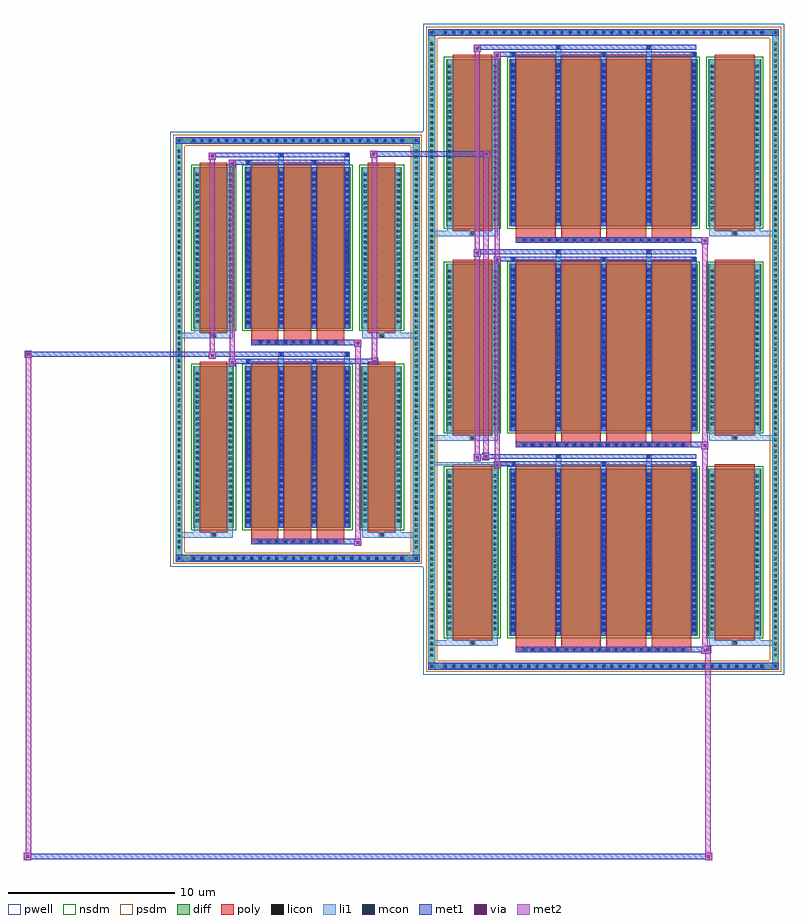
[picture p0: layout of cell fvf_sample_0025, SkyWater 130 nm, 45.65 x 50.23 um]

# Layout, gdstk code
import gdstk
lib = gdstk.Library(unit=1e-6, precision=1e-09)
def R(c, l, rs):  # rectangles x0, y0, x1, y1
    for r in rs: c.add(gdstk.rectangle(r[:2], r[2:], *l))
def A(c, l, x, y, w, h, nx, ny, dx, dy):  # array of equal rectangles
    R(c, l, [(x+i*dx, y+j*dy, x+i*dx+w, y+j*dy+h) for i in range(nx) for j in range(ny)])
def P(c, l, *ps):  # polygons
    for p in ps: c.add(gdstk.Polygon(p, *l))
pwell = (64, 44)
diff = (65, 20)
poly = (66, 20)
licon = (66, 44)
li1 = (67, 20)
mcon = (67, 44)
met1 = (68, 20)
via = (68, 44)
met2 = (69, 20)
nsdm = (93, 44)
psdm = (94, 20)

fvf_sample_0025 = lib.new_cell('fvf_sample_0025')
R(fvf_sample_0025, pwell, [(7.54,-19.546,29.214,19.546), (-7.64,-13.061,7.64,13.061)])
A(fvf_sample_0025, diff, 8.672, -19.236, 0.41, 0.41, 39, 2, 0.5, 38.062)
A(fvf_sample_0025, diff, 7.85, -18.565, 0.41, 0.41, 1, 109, 0, 0.34)
A(fvf_sample_0025, diff, 28.494, -18.565, 0.41, 0.41, 1, 109, 0, 0.34)
A(fvf_sample_0025, diff, 8.92, -17.215, 3.164, 10.052, 1, 3, 0, 12.297)
A(fvf_sample_0025, diff, 12.724, -17.215, 11.306, 10.052, 1, 3, 0, 12.297)
A(fvf_sample_0025, diff, 24.67, -17.215, 3.164, 10.052, 1, 3, 0, 12.297)
A(fvf_sample_0025, diff, -6.455, -12.751, 0.41, 0.41, 26, 2, 0.5, 25.092)
A(fvf_sample_0025, diff, -7.33, -12.105, 0.41, 0.41, 1, 71, 0, 0.34)
A(fvf_sample_0025, diff, 6.92, -12.105, 0.41, 0.41, 1, 71, 0, 0.34)
R(fvf_sample_0025, diff, [(8.672,-19.236,28.082,-18.826), (7.85,-18.565,8.26,18.565), (28.494,-18.565,28.904,18.565), (-6.455,-12.751,6.455,-12.341), (-7.33,-12.105,-6.92,12.105), (6.92,-12.105,7.33,12.105), (-6.26,-10.73,-3.832,-1.014), (-3.192,-10.73,3.192,-1.014), (3.832,-10.73,6.26,-1.014), (-6.26,1.23,-3.832,10.946), (-3.192,1.23,3.192,10.946), (3.832,1.23,6.26,10.946), (-6.455,12.341,6.455,12.751), (8.672,18.826,28.082,19.236)])
P(fvf_sample_0025, diff, [(7.33,12.751),(-7.33,12.751),(-7.33,-12.341),(-6.92,-12.341),(-6.92,12.341),(6.92,12.341),(6.92,-12.341),(-6.92,-12.341),(-7.33,-12.341),(-7.33,-12.751),(7.33,-12.751)],
  [(28.904,19.236),(7.85,19.236),(7.85,-18.826),(8.26,-18.826),(8.26,18.826),(28.494,18.826),(28.494,-18.826),(8.26,-18.826),(7.85,-18.826),(7.85,-19.236),(28.904,-19.236)])
A(fvf_sample_0025, poly, 13.114, -18.195, 10.526, 0.33, 1, 3, 0, 12.297)
A(fvf_sample_0025, poly, 13.462, -18.195, 0.33, 0.33, 20, 3, 0.5, 12.297)
A(fvf_sample_0025, poly, 13.114, -17.865, 2.384, 0.4, 4, 3, 2.714, 12.297)
A(fvf_sample_0025, poly, 9.31, -17.465, 2.384, 10.552, 1, 3, 0, 12.297)
A(fvf_sample_0025, poly, 13.114, -17.465, 2.384, 10.552, 4, 3, 2.714, 12.297)
A(fvf_sample_0025, poly, 25.06, -17.465, 2.384, 10.552, 1, 3, 0, 12.297)
A(fvf_sample_0025, poly, -2.415, -11.71, 0.33, 0.33, 10, 2, 0.5, 11.96)
A(fvf_sample_0025, poly, -2.802, -11.38, 1.648, 0.4, 3, 2, 1.978, 11.96)
A(fvf_sample_0025, poly, -2.802, -10.98, 1.648, 10.216, 3, 2, 1.978, 11.96)
R(fvf_sample_0025, poly, [(10.337,-17.795,10.667,-17.465), (10.337,-17.795,10.667,-17.465), (26.087,-17.795,26.417,-17.465), (26.087,-17.795,26.417,-17.465), (-2.802,-11.71,2.802,-11.38), (-5.211,-11.31,-4.881,-10.98), (-5.211,-11.31,-4.881,-10.98), (4.881,-11.31,5.211,-10.98), (4.881,-11.31,5.211,-10.98), (-5.87,-10.98,-4.222,-0.764), (4.222,-10.98,5.87,-0.764), (10.337,-5.498,10.667,-5.168), (10.337,-5.498,10.667,-5.168), (26.087,-5.498,26.417,-5.168), (26.087,-5.498,26.417,-5.168), (-2.802,0.25,2.802,0.58), (-5.211,0.65,-4.881,0.98), (-5.211,0.65,-4.881,0.98), (4.881,0.65,5.211,0.98), (4.881,0.65,5.211,0.98), (-5.87,0.98,-4.222,11.196), (4.222,0.98,5.87,11.196), (10.337,6.799,10.667,7.129), (10.337,6.799,10.667,7.129), (26.087,6.799,26.417,7.129), (26.087,6.799,26.417,7.129)])
A(fvf_sample_0025, licon, 8.792, -19.116, 0.17, 0.17, 39, 2, 0.5, 38.062)
A(fvf_sample_0025, licon, 7.97, -18.445, 0.17, 0.17, 1, 109, 0, 0.34)
A(fvf_sample_0025, licon, 28.614, -18.445, 0.17, 0.17, 1, 109, 0, 0.34)
A(fvf_sample_0025, licon, 13.542, -18.115, 0.17, 0.17, 20, 3, 0.5, 12.297)
A(fvf_sample_0025, licon, 10.417, -17.715, 0.17, 0.17, 1, 3, 0, 12.297)
A(fvf_sample_0025, licon, 26.167, -17.715, 0.17, 0.17, 1, 3, 0, 12.297)
A(fvf_sample_0025, licon, 9.06, -16.864, 0.17, 0.17, 1, 28, 0, 0.34)
A(fvf_sample_0025, licon, 11.774, -16.864, 0.17, 0.17, 1, 28, 0, 0.34)
A(fvf_sample_0025, licon, 12.864, -16.864, 0.17, 0.17, 5, 28, 2.714, 0.34)
A(fvf_sample_0025, licon, 24.81, -16.864, 0.17, 0.17, 1, 28, 0, 0.34)
A(fvf_sample_0025, licon, 27.524, -16.864, 0.17, 0.17, 1, 28, 0, 0.34)
A(fvf_sample_0025, licon, -6.335, -12.631, 0.17, 0.17, 26, 2, 0.5, 25.092)
A(fvf_sample_0025, licon, -7.21, -11.985, 0.17, 0.17, 1, 71, 0, 0.34)
A(fvf_sample_0025, licon, 7.04, -11.985, 0.17, 0.17, 1, 71, 0, 0.34)
A(fvf_sample_0025, licon, -2.335, -11.63, 0.17, 0.17, 10, 2, 0.5, 11.96)
A(fvf_sample_0025, licon, -6.12, -10.377, 0.17, 0.17, 1, 27, 0, 0.34)
A(fvf_sample_0025, licon, -4.142, -10.377, 0.17, 0.17, 1, 27, 0, 0.34)
A(fvf_sample_0025, licon, -3.052, -10.377, 0.17, 0.17, 4, 27, 1.978, 0.34)
A(fvf_sample_0025, licon, 3.972, -10.377, 0.17, 0.17, 1, 27, 0, 0.34)
A(fvf_sample_0025, licon, 5.95, -10.377, 0.17, 0.17, 1, 27, 0, 0.34)
A(fvf_sample_0025, licon, 9.06, -4.567, 0.17, 0.17, 1, 28, 0, 0.34)
A(fvf_sample_0025, licon, 11.774, -4.567, 0.17, 0.17, 1, 28, 0, 0.34)
A(fvf_sample_0025, licon, 12.864, -4.567, 0.17, 0.17, 5, 28, 2.714, 0.34)
A(fvf_sample_0025, licon, 24.81, -4.567, 0.17, 0.17, 1, 28, 0, 0.34)
A(fvf_sample_0025, licon, 27.524, -4.567, 0.17, 0.17, 1, 28, 0, 0.34)
A(fvf_sample_0025, licon, -6.12, 1.583, 0.17, 0.17, 1, 27, 0, 0.34)
A(fvf_sample_0025, licon, -4.142, 1.583, 0.17, 0.17, 1, 27, 0, 0.34)
A(fvf_sample_0025, licon, -3.052, 1.583, 0.17, 0.17, 4, 27, 1.978, 0.34)
A(fvf_sample_0025, licon, 3.972, 1.583, 0.17, 0.17, 1, 27, 0, 0.34)
A(fvf_sample_0025, licon, 5.95, 1.583, 0.17, 0.17, 1, 27, 0, 0.34)
A(fvf_sample_0025, licon, 9.06, 7.73, 0.17, 0.17, 1, 28, 0, 0.34)
A(fvf_sample_0025, licon, 11.774, 7.73, 0.17, 0.17, 1, 28, 0, 0.34)
A(fvf_sample_0025, licon, 12.864, 7.73, 0.17, 0.17, 5, 28, 2.714, 0.34)
A(fvf_sample_0025, licon, 24.81, 7.73, 0.17, 0.17, 1, 28, 0, 0.34)
A(fvf_sample_0025, licon, 27.524, 7.73, 0.17, 0.17, 1, 28, 0, 0.34)
R(fvf_sample_0025, licon, [(-5.131,-11.23,-4.961,-11.06), (4.961,-11.23,5.131,-11.06), (-5.131,0.73,-4.961,0.9), (4.961,0.73,5.131,0.9)])
A(fvf_sample_0025, li1, 8.712, -19.196, 0.33, 0.33, 39, 2, 0.5, 38.062)
A(fvf_sample_0025, li1, 7.89, -18.525, 0.33, 0.33, 1, 109, 0, 0.34)
A(fvf_sample_0025, li1, 28.534, -18.525, 0.33, 0.33, 1, 109, 0, 0.34)
A(fvf_sample_0025, li1, 13.462, -18.195, 0.33, 0.33, 20, 3, 0.5, 12.297)
A(fvf_sample_0025, li1, 7.85, -17.795, 2.487, 0.33, 1, 3, 0, 12.297)
A(fvf_sample_0025, li1, 8.98, -17.795, 0.33, 0.58, 1, 3, 0, 12.297)
A(fvf_sample_0025, li1, 8.98, -17.795, 1.357, 0.33, 1, 3, 0, 12.297)
A(fvf_sample_0025, li1, 10.337, -17.795, 0.33, 0.33, 1, 3, 0, 12.297)
A(fvf_sample_0025, li1, 10.667, -17.795, 1.357, 0.33, 1, 3, 0, 12.297)
A(fvf_sample_0025, li1, 11.694, -17.795, 0.33, 0.58, 1, 3, 0, 12.297)
A(fvf_sample_0025, li1, 24.73, -17.795, 0.33, 0.58, 1, 3, 0, 12.297)
A(fvf_sample_0025, li1, 24.73, -17.795, 1.357, 0.33, 1, 3, 0, 12.297)
A(fvf_sample_0025, li1, 26.087, -17.795, 0.33, 0.33, 1, 3, 0, 12.297)
A(fvf_sample_0025, li1, 26.087, -17.795, 2.817, 0.33, 1, 3, 0, 12.297)
A(fvf_sample_0025, li1, 26.417, -17.795, 1.357, 0.33, 1, 3, 0, 12.297)
A(fvf_sample_0025, li1, 27.444, -17.795, 0.33, 0.58, 1, 3, 0, 12.297)
A(fvf_sample_0025, li1, 8.98, -17.215, 0.33, 10.052, 1, 3, 0, 12.297)
A(fvf_sample_0025, li1, 11.694, -17.215, 0.33, 10.052, 1, 3, 0, 12.297)
A(fvf_sample_0025, li1, 12.784, -17.215, 0.33, 10.052, 5, 3, 2.714, 12.297)
A(fvf_sample_0025, li1, 24.73, -17.215, 0.33, 10.052, 1, 3, 0, 12.297)
A(fvf_sample_0025, li1, 27.444, -17.215, 0.33, 10.052, 1, 3, 0, 12.297)
A(fvf_sample_0025, li1, 12.864, -16.954, 0.17, 0.17, 5, 27, 2.714, 0.36)
A(fvf_sample_0025, li1, 12.864, -16.954, 0.17, 9.53, 5, 3, 2.714, 12.297)
A(fvf_sample_0025, li1, 8.98, -16.944, 0.33, 0.33, 1, 28, 0, 0.34)
A(fvf_sample_0025, li1, 11.694, -16.944, 0.33, 0.33, 1, 28, 0, 0.34)
A(fvf_sample_0025, li1, 12.784, -16.944, 0.33, 0.33, 5, 28, 2.714, 0.34)
A(fvf_sample_0025, li1, 24.73, -16.944, 0.33, 0.33, 1, 28, 0, 0.34)
A(fvf_sample_0025, li1, 27.444, -16.944, 0.33, 0.33, 1, 28, 0, 0.34)
A(fvf_sample_0025, li1, -6.415, -12.711, 0.33, 0.33, 26, 2, 0.5, 25.092)
A(fvf_sample_0025, li1, -7.29, -12.065, 0.33, 0.33, 1, 71, 0, 0.34)
A(fvf_sample_0025, li1, 6.96, -12.065, 0.33, 0.33, 1, 71, 0, 0.34)
A(fvf_sample_0025, li1, -2.415, -11.71, 0.33, 0.33, 10, 2, 0.5, 11.96)
A(fvf_sample_0025, li1, -3.132, -10.73, 0.33, 9.716, 4, 2, 1.978, 11.96)
A(fvf_sample_0025, li1, -6.2, -10.457, 0.33, 0.33, 1, 27, 0, 0.34)
A(fvf_sample_0025, li1, -4.222, -10.457, 0.33, 0.33, 1, 27, 0, 0.34)
A(fvf_sample_0025, li1, -3.132, -10.457, 0.33, 0.33, 4, 27, 1.978, 0.34)
A(fvf_sample_0025, li1, -3.052, -10.457, 0.17, 0.17, 4, 26, 1.978, 0.36)
A(fvf_sample_0025, li1, -3.052, -10.457, 0.17, 9.17, 4, 2, 1.978, 11.96)
A(fvf_sample_0025, li1, 3.892, -10.457, 0.33, 0.33, 1, 27, 0, 0.34)
A(fvf_sample_0025, li1, 5.87, -10.457, 0.33, 0.33, 1, 27, 0, 0.34)
A(fvf_sample_0025, li1, 12.784, -7.163, 0.33, 0.375, 3, 3, 5.428, 12.297)
A(fvf_sample_0025, li1, 15.498, -7.163, 0.33, 0.805, 1, 3, 0, 12.297)
A(fvf_sample_0025, li1, 20.926, -7.163, 0.33, 0.805, 1, 3, 0, 12.297)
A(fvf_sample_0025, li1, 12.864, -6.958, 0.17, 0.17, 3, 3, 5.428, 12.297)
A(fvf_sample_0025, li1, 15.578, -6.528, 0.17, 0.17, 1, 3, 0, 12.297)
A(fvf_sample_0025, li1, 21.006, -6.528, 0.17, 0.17, 1, 3, 0, 12.297)
A(fvf_sample_0025, li1, 12.864, -4.657, 0.17, 0.17, 5, 27, 2.714, 0.36)
A(fvf_sample_0025, li1, 8.98, -4.647, 0.33, 0.33, 1, 28, 0, 0.34)
A(fvf_sample_0025, li1, 11.694, -4.647, 0.33, 0.33, 1, 28, 0, 0.34)
A(fvf_sample_0025, li1, 12.784, -4.647, 0.33, 0.33, 5, 28, 2.714, 0.34)
A(fvf_sample_0025, li1, 24.73, -4.647, 0.33, 0.33, 1, 28, 0, 0.34)
A(fvf_sample_0025, li1, 27.444, -4.647, 0.33, 0.33, 1, 28, 0, 0.34)
A(fvf_sample_0025, li1, -6.2, 1.503, 0.33, 0.33, 1, 27, 0, 0.34)
A(fvf_sample_0025, li1, -4.222, 1.503, 0.33, 0.33, 1, 27, 0, 0.34)
A(fvf_sample_0025, li1, -3.132, 1.503, 0.33, 0.33, 4, 27, 1.978, 0.34)
A(fvf_sample_0025, li1, -3.052, 1.503, 0.17, 0.17, 4, 26, 1.978, 0.36)
A(fvf_sample_0025, li1, 3.892, 1.503, 0.33, 0.33, 1, 27, 0, 0.34)
A(fvf_sample_0025, li1, 5.87, 1.503, 0.33, 0.33, 1, 27, 0, 0.34)
A(fvf_sample_0025, li1, 12.864, 7.64, 0.17, 0.17, 5, 27, 2.714, 0.36)
A(fvf_sample_0025, li1, 8.98, 7.65, 0.33, 0.33, 1, 28, 0, 0.34)
A(fvf_sample_0025, li1, 11.694, 7.65, 0.33, 0.33, 1, 28, 0, 0.34)
A(fvf_sample_0025, li1, 12.784, 7.65, 0.33, 0.33, 5, 28, 2.714, 0.34)
A(fvf_sample_0025, li1, 24.73, 7.65, 0.33, 0.33, 1, 28, 0, 0.34)
A(fvf_sample_0025, li1, 27.444, 7.65, 0.33, 0.33, 1, 28, 0, 0.34)
R(fvf_sample_0025, li1, [(7.85,-19.236,8.26,-18.826), (28.494,-19.236,28.904,-18.826), (8.712,-19.196,28.042,-18.866), (7.97,-19.116,8.14,-18.946), (7.97,-19.116,8.14,-18.946), (28.614,-19.116,28.784,-18.946), (28.614,-19.116,28.784,-18.946), (7.85,-18.826,8.26,18.826), (28.494,-18.826,28.904,18.826), (-7.33,-12.751,-6.92,-12.341), (6.92,-12.751,7.33,-12.341), (-6.415,-12.711,6.415,-12.381), (-7.21,-12.631,-7.04,-12.461), (-7.21,-12.631,-7.04,-12.461), (7.04,-12.631,7.21,-12.461), (7.04,-12.631,7.21,-12.461), (-7.33,-12.341,-6.92,12.341), (6.92,-12.341,7.33,12.341), (-7.33,-11.31,-5.211,-10.98), (-6.2,-11.31,-5.211,-10.98), (-6.2,-11.31,-5.87,-10.73), (-5.211,-11.31,-4.881,-10.98), (-4.881,-11.31,-3.892,-10.98), (-4.222,-11.31,-3.892,-10.73), (3.892,-11.31,4.881,-10.98), (3.892,-11.31,4.222,-10.73), (4.881,-11.31,5.211,-10.98), (4.881,-11.31,7.33,-10.98), (5.211,-11.31,6.2,-10.98), (5.87,-11.31,6.2,-10.73), (-6.2,-10.73,-5.87,-1.014), (-4.222,-10.73,-3.892,-1.014), (3.892,-10.73,4.222,-1.014), (5.87,-10.73,6.2,-1.014), (12.804,-7.018,13.094,-6.728), (7.85,-6.973,12.804,-6.773), (12.864,-6.958,13.034,-6.788), (-3.132,-1.014,-2.802,-0.639), (-1.154,-1.014,-0.824,-0.209), (0.824,-1.014,1.154,-0.639), (2.802,-1.014,3.132,-0.209), (-3.052,-0.809,-2.882,-0.639), (0.904,-0.809,1.074,-0.639), (-1.074,-0.379,-0.904,-0.209), (2.882,-0.379,3.052,-0.209), (-7.33,0.65,-5.211,0.98), (-6.2,0.65,-5.211,0.98), (-6.2,0.65,-5.87,1.23), (-5.211,0.65,-4.881,0.98), (-4.881,0.65,-3.892,0.98), (-4.222,0.65,-3.892,1.23), (3.892,0.65,4.881,0.98), (3.892,0.65,4.222,1.23), (4.881,0.65,5.211,0.98), (4.881,0.65,7.33,0.98), (5.211,0.65,6.2,0.98), (5.87,0.65,6.2,1.23), (-6.2,1.23,-5.87,10.946), (-4.222,1.23,-3.892,10.946), (3.892,1.23,4.222,10.946), (5.87,1.23,6.2,10.946), (-3.132,10.946,-2.802,11.321), (-1.154,10.946,-0.824,11.751), (0.824,10.946,1.154,11.321), (2.802,10.946,3.132,11.751), (-3.052,11.151,-2.882,11.321), (0.904,11.151,1.074,11.321), (-1.074,11.581,-0.904,11.751), (2.882,11.581,3.052,11.751), (-7.33,12.341,-6.92,12.751), (6.92,12.341,7.33,12.751), (-6.415,12.381,6.415,12.711), (-7.21,12.461,-7.04,12.631), (-7.21,12.461,-7.04,12.631), (7.04,12.461,7.21,12.631), (7.04,12.461,7.21,12.631), (7.85,18.826,8.26,19.236), (28.494,18.826,28.904,19.236), (8.712,18.866,28.042,19.196), (7.97,18.946,8.14,19.116), (7.97,18.946,8.14,19.116), (28.614,18.946,28.784,19.116), (28.614,18.946,28.784,19.116)])
A(fvf_sample_0025, mcon, 8.792, -19.116, 0.17, 0.17, 39, 2, 0.5, 38.062)
A(fvf_sample_0025, mcon, 13.542, -18.115, 0.17, 0.17, 20, 3, 0.5, 12.297)
A(fvf_sample_0025, mcon, 12.864, -16.954, 0.17, 0.17, 5, 27, 2.714, 0.36)
A(fvf_sample_0025, mcon, -6.335, -12.631, 0.17, 0.17, 26, 2, 0.5, 25.092)
A(fvf_sample_0025, mcon, -2.335, -11.63, 0.17, 0.17, 10, 2, 0.5, 11.96)
A(fvf_sample_0025, mcon, -3.052, -10.457, 0.17, 0.17, 4, 26, 1.978, 0.36)
A(fvf_sample_0025, mcon, 12.864, -6.958, 0.17, 0.17, 3, 3, 5.428, 12.297)
A(fvf_sample_0025, mcon, 15.578, -6.528, 0.17, 0.17, 1, 3, 0, 12.297)
A(fvf_sample_0025, mcon, 21.006, -6.528, 0.17, 0.17, 1, 3, 0, 12.297)
A(fvf_sample_0025, mcon, 12.864, -4.657, 0.17, 0.17, 5, 27, 2.714, 0.36)
A(fvf_sample_0025, mcon, -3.052, 1.503, 0.17, 0.17, 4, 26, 1.978, 0.36)
A(fvf_sample_0025, mcon, 12.864, 7.64, 0.17, 0.17, 5, 27, 2.714, 0.36)
R(fvf_sample_0025, mcon, [(7.97,-19.116,8.14,-18.946), (28.614,-19.116,28.784,-18.946), (-7.21,-12.631,-7.04,-12.461), (7.04,-12.631,7.21,-12.461), (12.864,-6.958,13.034,-6.788), (-3.052,-0.809,-2.882,-0.639), (0.904,-0.809,1.074,-0.639), (-1.074,-0.379,-0.904,-0.209), (2.882,-0.379,3.052,-0.209), (-3.052,11.151,-2.882,11.321), (0.904,11.151,1.074,11.321), (-1.074,11.581,-0.904,11.751), (2.882,11.581,3.052,11.751), (-7.21,12.461,-7.04,12.631), (7.04,12.461,7.21,12.631), (7.97,18.946,8.14,19.116), (28.614,18.946,28.784,19.116)])
A(fvf_sample_0025, met1, 8.732, -19.176, 0.29, 0.29, 39, 2, 0.5, 38.062)
A(fvf_sample_0025, met1, 13.114, -18.195, 10.526, 0.33, 1, 3, 0, 12.297)
A(fvf_sample_0025, met1, 13.482, -18.175, 0.29, 0.29, 20, 3, 0.5, 12.297)
A(fvf_sample_0025, met1, 12.804, -17.215, 0.29, 10.052, 5, 3, 2.714, 12.297)
A(fvf_sample_0025, met1, 12.804, -17.014, 0.29, 0.29, 5, 27, 2.714, 0.36)
A(fvf_sample_0025, met1, -6.395, -12.691, 0.29, 0.29, 26, 2, 0.5, 25.092)
A(fvf_sample_0025, met1, -2.395, -11.69, 0.29, 0.29, 10, 2, 0.5, 11.96)
A(fvf_sample_0025, met1, -3.112, -10.73, 0.29, 9.716, 4, 2, 1.978, 11.96)
A(fvf_sample_0025, met1, -3.112, -10.517, 0.29, 0.29, 4, 26, 1.978, 0.36)
A(fvf_sample_0025, met1, 12.804, -7.018, 0.29, 0.29, 3, 3, 5.428, 12.297)
A(fvf_sample_0025, met1, 15.518, -6.588, 0.29, 0.29, 1, 3, 0, 12.297)
A(fvf_sample_0025, met1, 20.946, -6.588, 0.29, 0.29, 1, 3, 0, 12.297)
A(fvf_sample_0025, met1, 12.804, -4.717, 0.29, 0.29, 5, 27, 2.714, 0.36)
A(fvf_sample_0025, met1, -3.112, 1.443, 0.29, 0.29, 4, 26, 1.978, 0.36)
A(fvf_sample_0025, met1, 12.804, 7.58, 0.29, 0.29, 5, 27, 2.714, 0.36)
R(fvf_sample_0025, met1, [(-16.438,-30.685,-16.008,-30.255), (24.475,-30.685,24.905,-30.255), (-16.438,-30.635,24.905,-30.305), (-16.438,-30.305,-16.008,-30.255), (24.475,-30.305,24.905,-30.255), (7.85,-19.236,8.26,-18.826), (7.85,-19.236,8.26,-18.826), (8.26,-19.236,28.494,-18.826), (28.494,-19.236,28.904,-18.826), (28.494,-19.236,28.904,-18.826), (7.91,-19.176,8.2,-18.886), (28.554,-19.176,28.844,-18.886), (24.24,-18.295,24.67,-17.865), (24.425,-18.245,24.855,-17.815), (23.64,-18.195,24.67,-17.865), (23.64,-18.195,24.425,-17.865), (-7.33,-12.751,-6.92,-12.341), (-7.33,-12.751,-6.92,-12.341), (-6.92,-12.751,6.92,-12.341), (6.92,-12.751,7.33,-12.341), (6.92,-12.751,7.33,-12.341), (-7.27,-12.691,-6.98,-12.401), (6.98,-12.691,7.27,-12.401), (3.402,-11.81,3.832,-11.38), (-2.802,-11.71,2.802,-11.38), (2.802,-11.71,3.832,-11.38), (11.774,-7.158,12.204,-6.728), (11.774,-7.018,12.804,-6.728), (12.804,-7.018,13.094,-6.728), (12.804,-7.018,23.95,-6.728), (10.574,-6.728,11.004,-6.298), (11.089,-6.658,11.519,-6.228), (10.574,-6.588,12.804,-6.298), (11.519,-6.588,12.804,-6.298), (12.804,-6.588,23.95,-6.298), (24.24,-5.998,24.67,-5.568), (24.24,-5.998,24.67,-5.568), (23.64,-5.898,24.67,-5.568), (23.64,-5.898,24.67,-5.568), (-4.142,-1.009,-3.712,-0.579), (4.397,-0.939,4.827,-0.509), (-4.142,-0.869,-3.112,-0.579), (-3.112,-0.869,-2.822,-0.579), (-3.112,-0.869,3.112,-0.579), (0.844,-0.869,1.134,-0.579), (3.112,-0.869,4.397,-0.579), (-5.342,-0.579,-4.912,-0.149), (-16.388,-0.509,-15.958,-0.079), (-15.958,-0.439,-3.112,-0.149), (-5.342,-0.439,-3.112,-0.149), (-3.112,-0.439,3.112,-0.149), (-1.134,-0.439,-0.844,-0.149), (2.822,-0.439,3.112,-0.149), (3.402,0.15,3.832,0.58), (-2.802,0.25,2.802,0.58), (2.802,0.25,3.832,0.58), (11.774,5.139,12.204,5.569), (11.774,5.139,12.204,5.569), (11.774,5.279,12.804,5.569), (11.774,5.279,12.804,5.569), (12.804,5.279,23.95,5.569), (10.574,5.569,11.004,5.999), (10.574,5.569,11.004,5.999), (10.574,5.709,12.804,5.999), (10.574,5.709,12.804,5.999), (12.804,5.709,23.95,5.999), (24.24,6.299,24.67,6.729), (23.64,6.399,24.67,6.729), (-4.142,10.951,-3.712,11.381), (-4.142,11.091,-3.112,11.381), (-3.112,11.091,-2.822,11.381), (-3.112,11.091,3.112,11.381), (0.844,11.091,1.134,11.381), (-5.342,11.381,-4.912,11.811), (4.347,11.501,4.777,11.931), (11.139,11.501,11.569,11.931), (-5.342,11.521,-3.112,11.811), (-3.112,11.521,3.112,11.811), (-1.134,11.521,-0.844,11.811), (2.822,11.521,3.112,11.811), (4.347,11.551,11.569,11.881), (4.347,11.881,4.777,11.931), (11.139,11.881,11.569,11.931), (-7.33,12.341,-6.92,12.751), (-7.33,12.341,-6.92,12.751), (-6.92,12.341,6.92,12.751), (6.92,12.341,7.33,12.751), (6.92,12.341,7.33,12.751), (-7.27,12.401,-6.98,12.691), (6.98,12.401,7.27,12.691), (11.774,17.436,12.204,17.866), (11.774,17.576,12.804,17.866), (12.804,17.576,23.95,17.866), (10.574,17.866,11.004,18.296), (10.574,18.006,12.804,18.296), (12.804,18.006,23.95,18.296), (7.85,18.826,8.26,19.236), (7.85,18.826,8.26,19.236), (8.26,18.826,28.494,19.236), (28.494,18.826,28.904,19.236), (28.494,18.826,28.904,19.236), (7.91,18.886,8.2,19.176), (28.554,18.886,28.844,19.176)])
R(fvf_sample_0025, via, [(-16.298,-30.545,-16.148,-30.395), (24.615,-30.545,24.765,-30.395), (24.38,-18.155,24.53,-18.005), (24.565,-18.105,24.715,-17.955), (3.542,-11.67,3.692,-11.52), (11.914,-7.018,12.064,-6.868), (10.714,-6.588,10.864,-6.438), (11.229,-6.518,11.379,-6.368), (24.38,-5.858,24.53,-5.708), (24.38,-5.858,24.53,-5.708), (-4.002,-0.869,-3.852,-0.719), (4.537,-0.799,4.687,-0.649), (-5.202,-0.439,-5.052,-0.289), (-16.248,-0.369,-16.098,-0.219), (3.542,0.29,3.692,0.44), (11.914,5.279,12.064,5.429), (11.914,5.279,12.064,5.429), (10.714,5.709,10.864,5.859), (10.714,5.709,10.864,5.859), (24.38,6.439,24.53,6.589), (-4.002,11.091,-3.852,11.241), (-5.202,11.521,-5.052,11.671), (4.487,11.641,4.637,11.791), (11.279,11.641,11.429,11.791), (11.914,17.576,12.064,17.726), (10.714,18.006,10.864,18.156)])
R(fvf_sample_0025, met2, [(-16.438,-30.685,-16.008,-30.255), (-16.338,-30.685,-16.008,-0.459), (24.475,-30.685,24.905,-30.255), (24.475,-30.685,24.805,-18.195), (-16.388,-30.635,-16.058,-30.305), (24.525,-30.635,24.855,-30.305), (24.24,-18.295,24.67,-17.865), (24.29,-18.295,24.62,-5.568), (24.62,-18.295,24.67,-17.865), (24.29,-18.245,24.62,-17.915), (24.475,-18.195,24.805,-17.865), (3.402,-11.81,3.832,-11.38), (3.452,-11.81,3.782,0.58), (3.782,-11.81,3.832,-11.38), (3.452,-11.76,3.782,-11.43), (11.774,-7.158,12.204,-6.728), (11.844,-7.158,12.134,5.569), (12.134,-7.158,12.204,-6.728), (11.824,-7.108,12.154,-6.778), (10.574,-6.728,11.004,-6.298), (10.644,-6.728,10.934,5.999), (10.934,-6.728,11.004,-6.298), (10.624,-6.678,10.954,-6.348), (11.139,-6.608,11.469,-6.278), (11.139,-6.278,11.469,11.931), (24.24,-5.998,24.67,-5.568), (24.24,-5.998,24.67,-5.568), (24.29,-5.998,24.62,6.729), (24.62,-5.998,24.67,-5.568), (24.62,-5.998,24.67,-5.568), (24.29,-5.948,24.62,-5.618), (24.29,-5.948,24.62,-5.618), (-4.142,-1.009,-3.712,-0.579), (-4.072,-1.009,-3.782,11.381), (-3.782,-1.009,-3.712,-0.579), (-4.092,-0.959,-3.762,-0.629), (4.447,-0.889,4.777,-0.559), (-5.342,-0.579,-4.912,-0.149), (-5.272,-0.579,-4.982,11.811), (-4.982,-0.579,-4.912,-0.149), (4.447,-0.559,4.777,11.931), (-5.292,-0.529,-4.962,-0.199), (-16.338,-0.459,-16.008,-0.129), (3.402,0.15,3.832,0.58), (3.782,0.15,3.832,0.58), (3.452,0.2,3.782,0.53), (11.774,5.139,12.204,5.569), (11.774,5.139,12.204,5.569), (11.844,5.139,12.134,17.866), (12.134,5.139,12.204,5.569), (12.134,5.139,12.204,5.569), (11.824,5.189,12.154,5.519), (11.824,5.189,12.154,5.519), (10.574,5.569,11.004,5.999), (10.574,5.569,11.004,5.999), (10.644,5.569,10.934,18.296), (10.934,5.569,11.004,5.999), (10.934,5.569,11.004,5.999), (10.624,5.619,10.954,5.949), (10.624,5.619,10.954,5.949), (24.24,6.299,24.67,6.729), (24.62,6.299,24.67,6.729), (24.29,6.349,24.62,6.679), (-4.142,10.951,-3.712,11.381), (-3.782,10.951,-3.712,11.381), (-4.092,11.001,-3.762,11.331), (-5.342,11.381,-4.912,11.811), (-4.982,11.381,-4.912,11.811), (-5.292,11.431,-4.962,11.761), (4.347,11.501,4.777,11.931), (11.139,11.501,11.569,11.931), (4.397,11.551,4.727,11.881), (11.189,11.551,11.519,11.881), (11.774,17.436,12.204,17.866), (12.134,17.436,12.204,17.866), (11.824,17.486,12.154,17.816), (10.574,17.866,11.004,18.296), (10.934,17.866,11.004,18.296), (10.624,17.916,10.954,18.246)])
A(fvf_sample_0025, nsdm, 8.79, -17.345, 3.424, 10.312, 1, 3, 0, 12.297)
A(fvf_sample_0025, nsdm, 12.594, -17.345, 11.566, 10.312, 1, 3, 0, 12.297)
A(fvf_sample_0025, nsdm, 24.54, -17.345, 3.424, 10.312, 1, 3, 0, 12.297)
R(fvf_sample_0025, nsdm, [(-6.39,-10.86,-3.702,-0.884), (-3.322,-10.86,3.322,-0.884), (3.702,-10.86,6.39,-0.884), (-6.39,1.1,-3.702,11.076), (-3.322,1.1,3.322,11.076), (3.702,1.1,6.39,11.076)])
P(fvf_sample_0025, psdm, [(7.46,12.881),(-7.46,12.881),(-7.46,-12.211),(-6.79,-12.211),(-6.79,12.211),(6.79,12.211),(6.79,-12.211),(-6.79,-12.211),(-7.46,-12.211),(-7.46,-12.881),(7.46,-12.881)],
  [(29.034,19.366),(7.72,19.366),(7.72,-18.696),(8.39,-18.696),(8.39,18.696),(28.364,18.696),(28.364,-18.696),(8.39,-18.696),(7.72,-18.696),(7.72,-19.366),(29.034,-19.366)])

lib.write_gds('fvf_sample_0025.gds')
